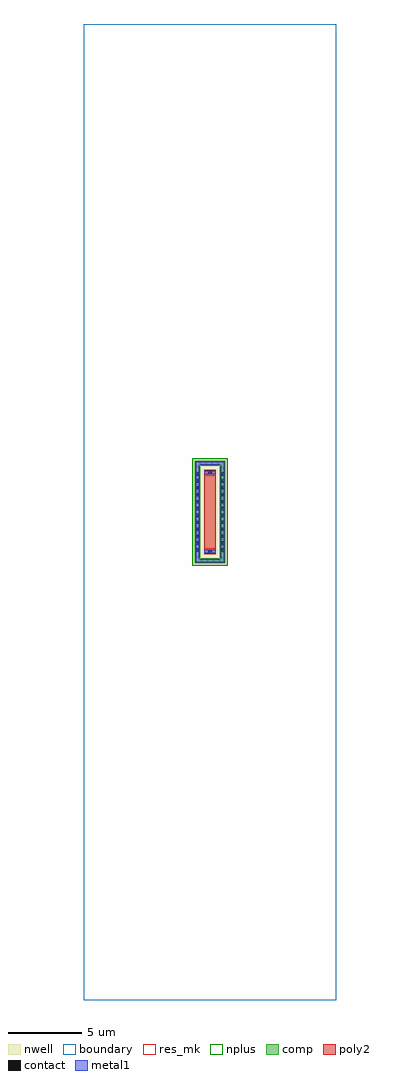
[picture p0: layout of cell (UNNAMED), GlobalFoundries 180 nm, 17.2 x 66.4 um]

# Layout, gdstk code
import gdstk
lib = gdstk.Library(unit=1e-6, precision=1e-09)
def R(c, l, rs):  # rectangles x0, y0, x1, y1
    for r in rs: c.add(gdstk.rectangle(r[:2], r[2:], *l))
def A(c, l, x, y, w, h, nx, ny, dx, dy):  # array of equal rectangles
    R(c, l, [(x+i*dx, y+j*dy, x+i*dx+w, y+j*dy+h) for i in range(nx) for j in range(ny)])
boundary = (0, 0)
nwell = (21, 0)
comp = (22, 0)
poly2 = (30, 0)
nplus = (32, 0)
contact = (33, 0)
metal1 = (34, 0)
res_mk = (110, 5)

c__unnamed_ = lib.new_cell('(UNNAMED)')
R(c__unnamed_, boundary, [(-8.6,-33.2,8.6,33.2)])
R(c__unnamed_, nwell, [(-1.16,-3.62,1.16,3.62)])
R(c__unnamed_, comp, [(-1.04,-3.5,1.04,-3.14), (-1.04,-3.14,-0.68,3.14), (0.68,-3.14,1.04,3.14), (-1.04,3.14,1.04,3.5)])
R(c__unnamed_, poly2, [(-0.4,-2.86,0.4,2.86)])
R(c__unnamed_, nplus, [(-1.2,-3.66,1.2,-3.03), (-0.58,-3.04,0.58,3.04), (-1.2,-3.03,-0.57,3.03), (0.57,-3.03,1.2,3.03), (-1.2,3.03,1.2,3.66)])
A(c__unnamed_, contact, -0.97, -2.695, 0.22, 0.22, 1, 12, 0, 0.47)
A(c__unnamed_, contact, 0.75, -2.695, 0.22, 0.22, 1, 12, 0, 0.47)
R(c__unnamed_, contact, [(-0.11,-2.79,0.11,-2.57), (-0.11,2.57,0.11,2.79)])
R(c__unnamed_, metal1, [(-0.975,-3.435,0.975,-3.205), (-0.975,-3.205,-0.745,3.205), (0.745,-3.205,0.975,3.205), (-0.39,-2.795,0.39,-2.565), (-0.39,2.565,0.39,2.795), (-0.975,3.205,0.975,3.435)])
R(c__unnamed_, res_mk, [(-0.4,-2.5,0.4,2.5)])

lib.write_gds('_UNNAMED_.gds')
